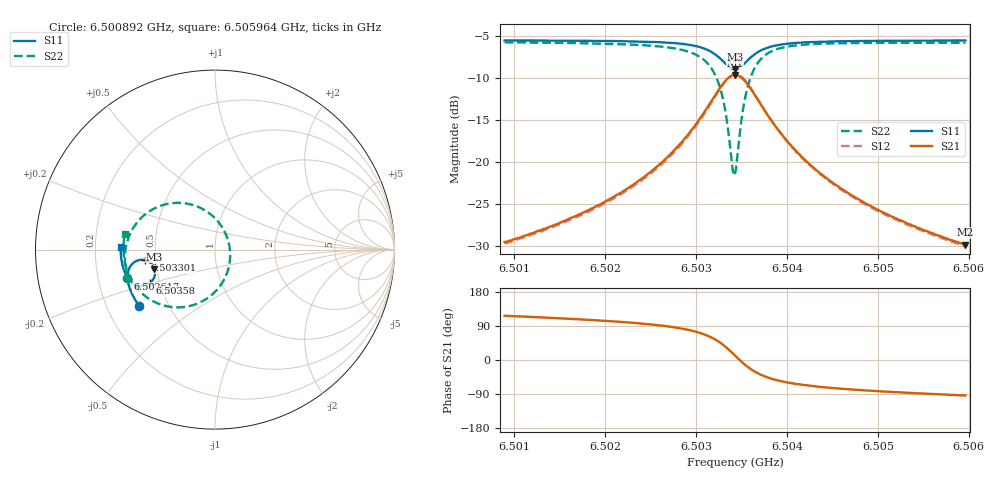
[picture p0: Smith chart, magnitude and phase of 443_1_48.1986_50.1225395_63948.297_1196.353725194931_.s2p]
#  HZ  S  RI  R  50.00
! Rohde & Schwarz Vector Network Analyzer
! Rohde-Schwarz,ZNB20-2Port,1311601062101988,3.16
! Created: UTC 3/20/2024, 11:55:55 AM
! freq[Hz]  re:S11  im:S11  re:S21  im:S21  re:S12  im:S12  re:S22  im:S22
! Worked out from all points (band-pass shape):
!   401 points, 6.500892 GHz to 6.505964 GHz, reference 50 ohm
!   highest |S21| = -9.67 dB at 6.503428 GHz (marker M1); lowest = -29.8 dB at 6.505964 GHz (marker M2)
!   |S21| within 3 dB of the highest: 6.503175 GHz to 6.503682 GHz (507.1 kHz wide, 0.0078 % of centre)
!   lowest |S11| = -9.0 dB at 6.503428 GHz (marker M3), VSWR 2.10, Z = 24.3 - j5.96 ohm
!   |S11| at or under -10 dB: nowhere
!   |S22| runs from -21.6 to -5.8 dB; largest |S21 - S12| = 0.012
!   S11 on the Smith chart (normalised r, x): 6.500892 GHz: 0.34, -0.29; 6.502617 GHz: 0.33, -0.15; 6.503301 GHz: 0.44, -0.06; 6.50358 GHz: 0.44, -0.20; 6.505964 GHz: 0.31, +0.01
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6.5008922e9  -0.424 -0.3124  -0.015 0.0297  -0.0133 0.0299  -0.4877 -0.1603
6.5017418e9  -0.4607 -0.2501  -0.0145 0.0473  -0.012 0.0469  -0.5019 -0.0708
6.5021856e9  -0.4767 -0.2112  -0.0119 0.0652  -0.00884 0.0642  -0.4999 -0.00925
6.5025913e9  -0.4865 -0.167  -0.00273 0.0958  0.00101 0.0935  -0.4806 0.0702
6.5026167e9  -0.4868 -0.1639  -0.0015 0.0984  0.00224 0.0962  -0.478 0.0765
6.5029084e9  -0.4834 -0.1192  0.0254 0.1423  0.0293 0.1378  -0.4222 0.1651
6.5030986e9  -0.4623 -0.0812  0.0793 0.1843  0.0818 0.178  -0.3196 0.2377
6.5032127e9  -0.4299 -0.0604  0.1477 0.2019  0.1487 0.1956  -0.1959 0.2604
6.5033014e9  -0.3896 -0.0585  0.2269 0.1861  0.2273 0.1809  -0.0594 0.2208
6.5033395e9  -0.3704 -0.0661  0.2632 0.1632  0.2642 0.1585  0.00059 0.1742
6.5034029e9  -0.3437 -0.0927  0.3111 0.0996  0.3136 0.0947  0.0726 0.0522
6.5034282e9  -0.3373 -0.1073  0.3214 0.0674  0.3246 0.0615  0.0836 -0.00788
6.5034536e9  -0.3342 -0.1229  0.3249 0.0338  0.3286 0.0268  0.0821 -0.069
6.503517e9  -0.3413 -0.16  0.307 -0.044  0.3092 -0.054  0.0272 -0.2043
6.5035804e9  -0.3625 -0.186  0.2643 -0.0982  0.2633 -0.1095  -0.0692 -0.2871
6.5036818e9  -0.4019 -0.2013  0.1899 -0.1344  0.1846 -0.1441  -0.2188 -0.3216
6.5038467e9  -0.4482 -0.1916  0.1083 -0.1315  0.1013 -0.1366  -0.3658 -0.2755
6.5040242e9  -0.4755 -0.1704  0.0638 -0.1115  0.0576 -0.1138  -0.4379 -0.2107
6.5042778e9  -0.4962 -0.1404  0.0339 -0.0873  0.0292 -0.0879  -0.4813 -0.1388
6.5046709e9  -0.5121 -0.0996  0.0146 -0.0637  0.0113 -0.0633  -0.504 -0.0621
6.5051274e9  -0.5211 -0.0576  0.00503 -0.0477  0.00273 -0.0471  -0.5099 0.0016
6.5059643e9  -0.5259 0.0132  -0.00205 -0.0321  -0.00339 -0.0313  -0.5021 0.0895
